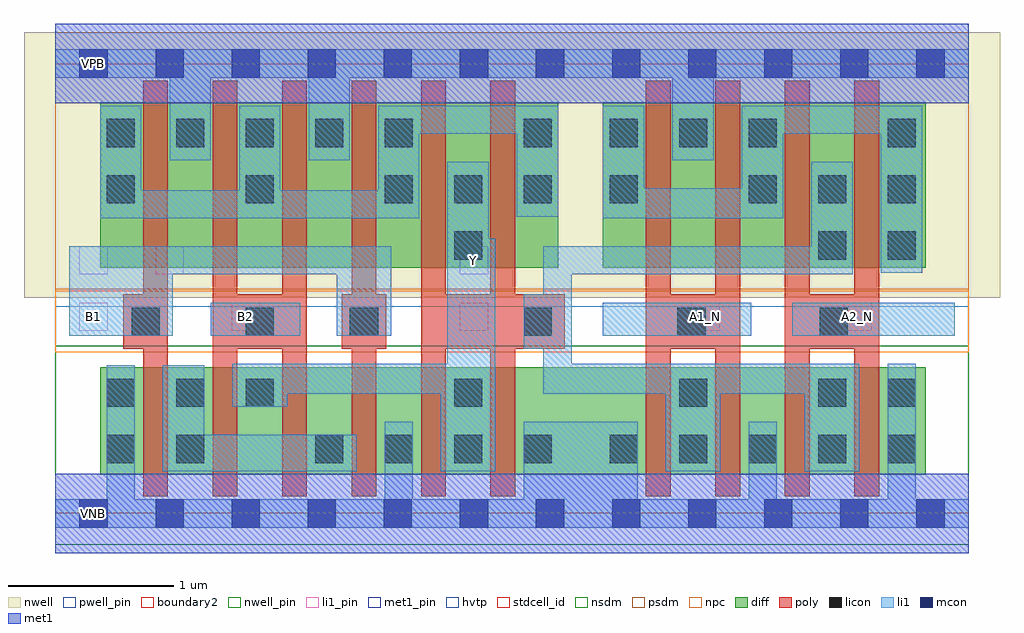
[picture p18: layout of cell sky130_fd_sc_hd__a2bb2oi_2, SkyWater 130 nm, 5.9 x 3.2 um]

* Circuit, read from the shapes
.subckt sky130_fd_sc_hd__a2bb2oi_2 A1_N A2_N B1 B2 VGND VNB VPB VPWR Y
XM1 n1 B1 VGND VNB sky130_fd_pr__nfet_01v8 w=0.65 l=0.15 m=2
XM2 Y B2 n1 VNB sky130_fd_pr__nfet_01v8 w=0.65 l=0.15 m=2
XM3 Y n2 VGND VNB sky130_fd_pr__nfet_01v8 w=0.65 l=0.15 m=2
XM4 n2 A1_N VGND VNB sky130_fd_pr__nfet_01v8 w=0.65 l=0.15 m=2
XM5 n2 A2_N VGND VNB sky130_fd_pr__nfet_01v8 w=0.65 l=0.15 m=2
XM6 VPWR B1 n3 VPB sky130_fd_pr__pfet_01v8_hvt w=1 l=0.15 m=2
XM7 n3 B2 VPWR VPB sky130_fd_pr__pfet_01v8_hvt w=1 l=0.15 m=2
XM8 Y n2 n3 VPB sky130_fd_pr__pfet_01v8_hvt w=1 l=0.15 m=2
XM9 VPWR A1_N n4 VPB sky130_fd_pr__pfet_01v8_hvt w=1 l=0.15 m=2
XM10 n2 A2_N n4 VPB sky130_fd_pr__pfet_01v8_hvt w=1 l=0.15 m=2
.ends

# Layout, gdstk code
import gdstk
lib = gdstk.Library(unit=1e-6, precision=1e-09)
def R(c, l, rs):  # rectangles x0, y0, x1, y1
    for r in rs: c.add(gdstk.rectangle(r[:2], r[2:], *l))
def A(c, l, x, y, w, h, nx, ny, dx, dy):  # array of equal rectangles
    R(c, l, [(x+i*dx, y+j*dy, x+i*dx+w, y+j*dy+h) for i in range(nx) for j in range(ny)])
def P(c, l, *ps):  # polygons
    for p in ps: c.add(gdstk.Polygon(p, *l))
nwell_pin = (64, 16)
nwell = (64, 20)
diff = (65, 20)
poly = (66, 20)
licon = (66, 44)
li1_pin = (67, 16)
li1 = (67, 20)
mcon = (67, 44)
met1_pin = (68, 16)
met1 = (68, 20)
hvtp = (78, 44)
stdcell_id = (81, 4)
nsdm = (93, 44)
psdm = (94, 20)
npc = (95, 20)
pwell_pin = (122, 16)
boundary2 = (236, 0)

sky130_fd_sc_hd__a2bb2oi = lib.new_cell('sky130_fd_sc_hd__a2bb2oi_2')
R(sky130_fd_sc_hd__a2bb2oi, nwell_pin, [(0.145,2.635,0.315,2.805)])
R(sky130_fd_sc_hd__a2bb2oi, nwell, [(-0.19,1.305,5.71,2.91)])
R(sky130_fd_sc_hd__a2bb2oi, diff, [(0.27,0.235,5.26,0.885), (0.27,1.485,3.04,2.485), (3.31,1.485,5.26,2.485)])
P(sky130_fd_sc_hd__a2bb2oi, poly, [(0.95,0.105),(0.95,2.615),(1.1,2.615),(1.1,1.325),(1.37,1.325),(1.37,2.615),(1.52,2.615),(1.52,0.105),(1.37,0.105),(1.37,0.995),(1.1,0.995),(1.1,0.105)],
  [(3.57,0.105),(3.57,2.615),(3.72,2.615),(3.72,1.325),(3.99,1.325),(3.99,2.615),(4.14,2.615),(4.14,0.105),(3.99,0.105),(3.99,0.995),(3.72,0.995),(3.72,0.105)],
  [(0.53,0.105),(0.53,0.995),(0.41,0.995),(0.41,1.325),(0.53,1.325),(0.53,2.615),(0.68,2.615),(0.68,0.105)],
  [(2.21,0.105),(2.21,2.615),(2.36,2.615),(2.36,1.325),(2.63,1.325),(2.63,2.615),(2.78,2.615),(2.78,1.325),(3.08,1.325),(3.08,0.995),(2.78,0.995),(2.78,0.105),(2.63,0.105),(2.63,0.995),(2.36,0.995),(2.36,0.105)],
  [(1.79,0.105),(1.79,0.995),(1.73,0.995),(1.73,1.325),(1.79,1.325),(1.79,2.615),(1.94,2.615),(1.94,1.325),(2,1.325),(2,0.995),(1.94,0.995),(1.94,0.105)],
  [(4.41,0.105),(4.41,2.615),(4.56,2.615),(4.56,1.325),(4.83,1.325),(4.83,2.615),(4.98,2.615),(4.98,0.105),(4.83,0.105),(4.83,0.995),(4.56,0.995),(4.56,0.105)])
A(sky130_fd_sc_hd__a2bb2oi, licon, 1.57, 0.305, 0.17, 0.17, 4, 1, 0.42, 0)
A(sky130_fd_sc_hd__a2bb2oi, licon, 3.35, 0.305, 0.17, 0.17, 5, 1, 0.42, 0)
A(sky130_fd_sc_hd__a2bb2oi, licon, 0.31, 0.645, 0.17, 0.17, 3, 1, 0.42, 0)
A(sky130_fd_sc_hd__a2bb2oi, licon, 0.31, 1.875, 0.17, 0.17, 3, 1, 0.84, 0)
A(sky130_fd_sc_hd__a2bb2oi, licon, 4.19, 1.875, 0.17, 0.17, 3, 1, 0.42, 0)
A(sky130_fd_sc_hd__a2bb2oi, licon, 0.31, 2.215, 0.17, 0.17, 5, 1, 0.42, 0)
A(sky130_fd_sc_hd__a2bb2oi, licon, 3.35, 2.215, 0.17, 0.17, 3, 1, 0.42, 0)
R(sky130_fd_sc_hd__a2bb2oi, licon, [(0.31,0.305,0.48,0.475), (0.73,0.305,0.9,0.475), (2.41,0.645,2.58,0.815), (3.77,0.645,3.94,0.815), (4.61,0.645,4.78,0.815), (5.03,0.645,5.2,0.815), (0.46,1.075,0.63,1.245), (1.15,1.075,1.32,1.245), (1.78,1.075,1.95,1.245), (2.83,1.075,3,1.245), (3.76,1.075,3.93,1.245), (4.62,1.075,4.79,1.245), (2.41,1.535,2.58,1.705), (4.61,1.535,4.78,1.705), (5.03,1.535,5.2,1.705), (2.41,1.875,2.58,2.045), (2.83,1.875,3,2.045), (3.35,1.875,3.52,2.045), (2.83,2.215,3,2.385), (5.03,2.215,5.2,2.385)])
R(sky130_fd_sc_hd__a2bb2oi, li1_pin, [(0.145,1.105,0.315,1.275), (1.065,1.105,1.235,1.275), (2.445,1.105,2.615,1.275), (3.845,1.105,4.015,1.275), (4.765,1.105,4.935,1.275), (0.145,1.445,0.315,1.615), (0.605,1.445,0.775,1.615), (2.445,1.445,2.615,1.615)])
R(sky130_fd_sc_hd__a2bb2oi, li1, [(0.94,1.075,1.48,1.275), (3.31,1.075,4.205,1.275), (4.455,1.075,5.435,1.275)])
P(sky130_fd_sc_hd__a2bb2oi, li1, [(0,-0.085),(0,0.085),(0.31,0.085),(0.31,0.895),(0.48,0.895),(0.48,0.085),(1.99,0.085),(1.99,0.555),(2.16,0.555),(2.16,0.085),(2.83,0.085),(2.83,0.555),(3.52,0.555),(3.52,0.085),(4.19,0.085),(4.19,0.555),(4.36,0.555),(4.36,0.085),(5.03,0.085),(5.03,0.905),(5.2,0.905),(5.2,0.085),(5.52,0.085),(5.52,-0.085)],
  [(0.69,2.135),(0.69,2.635),(0,2.635),(0,2.805),(5.52,2.805),(5.52,2.635),(3.98,2.635),(3.98,2.135),(3.73,2.135),(3.73,2.635),(1.78,2.635),(1.78,2.135),(1.53,2.135),(1.53,2.635),(0.94,2.635),(0.94,2.135)],
  [(4.99,1.455),(4.99,2.295),(4.4,2.295),(4.4,1.785),(3.31,1.785),(3.31,2.465),(3.56,2.465),(3.56,1.965),(4.15,1.965),(4.15,2.465),(5.24,2.465),(5.24,1.455)],
  [(3.69,0.255),(3.69,0.725),(2.95,0.725),(2.95,0.995),(2.83,0.995),(2.83,1.325),(2.95,1.325),(2.95,1.615),(4.57,1.615),(4.57,2.125),(4.82,2.125),(4.82,1.445),(3.12,1.445),(3.12,0.905),(4.86,0.905),(4.86,0.255),(4.53,0.255),(4.53,0.725),(4.02,0.725),(4.02,0.255)],
  [(0.27,1.785),(0.27,2.465),(0.52,2.465),(0.52,1.955),(1.11,1.955),(1.11,2.465),(1.36,2.465),(1.36,1.955),(1.95,1.955),(1.95,2.465),(3.04,2.465),(3.04,1.795),(2.79,1.795),(2.79,2.295),(2.2,2.295),(2.2,1.785)],
  [(2.33,0.255),(2.33,0.725),(1.4,0.725),(1.4,0.645),(1.07,0.645),(1.07,0.905),(2.37,0.905),(2.37,2.125),(2.62,2.125),(2.62,1.66),(2.66,1.66),(2.66,0.255)],
  [(0.085,1.075),(0.085,1.615),(2.03,1.615),(2.03,1.075),(1.7,1.075),(1.7,1.445),(0.71,1.445),(0.71,1.075)],
  [(0.65,0.255),(0.65,0.895),(0.9,0.895),(0.9,0.475),(1.82,0.475),(1.82,0.255)])
A(sky130_fd_sc_hd__a2bb2oi, mcon, 0.145, -0.085, 0.17, 0.17, 12, 2, 0.46, 2.72)
R(sky130_fd_sc_hd__a2bb2oi, met1_pin, [(0.145,-0.085,0.315,0.085), (0.145,2.635,0.315,2.805)])
R(sky130_fd_sc_hd__a2bb2oi, hvtp, [(0,1.25,5.52,2.72)])
R(sky130_fd_sc_hd__a2bb2oi, stdcell_id, [(0,0,5.52,2.72)])
R(sky130_fd_sc_hd__a2bb2oi, nsdm, [(0,-0.19,5.52,1.015)])
R(sky130_fd_sc_hd__a2bb2oi, psdm, [(0,1.355,5.52,2.91)])
R(sky130_fd_sc_hd__a2bb2oi, npc, [(0,0.975,5.52,1.345)])
R(sky130_fd_sc_hd__a2bb2oi, pwell_pin, [(0.145,-0.085,0.315,0.085)])
R(sky130_fd_sc_hd__a2bb2oi, boundary2, [(0,0,5.52,2.72)])
sky130_fd_sc_hd__a2bb2oi.add(gdstk.FlexPath([(0,2.72),(5.52,2.72)], 0.48, ends="flush", simple_path=True, layer=68, datatype=20))  # met1
sky130_fd_sc_hd__a2bb2oi.add(gdstk.FlexPath([(0,0),(5.52,0)], 0.48, ends="flush", simple_path=True, layer=68, datatype=20))  # met1
sky130_fd_sc_hd__a2bb2oi.add(gdstk.Label('A2_N', (4.85,1.19), layer=67, texttype=5))
sky130_fd_sc_hd__a2bb2oi.add(gdstk.Label('A1_N', (3.93,1.19), layer=67, texttype=5))
sky130_fd_sc_hd__a2bb2oi.add(gdstk.Label('Y', (2.53,1.53), layer=67, texttype=5))
sky130_fd_sc_hd__a2bb2oi.add(gdstk.Label('B2', (1.15,1.19), layer=67, texttype=5))
sky130_fd_sc_hd__a2bb2oi.add(gdstk.Label('B1', (0.23,1.19), layer=67, texttype=5))
sky130_fd_sc_hd__a2bb2oi.add(gdstk.Label('VNB', (0.23,0), layer=64, texttype=59))
sky130_fd_sc_hd__a2bb2oi.add(gdstk.Label('VPB', (0.23,2.72), layer=64, texttype=5))
sky130_fd_sc_hd__a2bb2oi.add(gdstk.Label('VGND', (0.23,0), layer=68, texttype=5))
sky130_fd_sc_hd__a2bb2oi.add(gdstk.Label('VPWR', (0.23,2.72), layer=68, texttype=5))
sky130_fd_sc_hd__a2bb2oi.add(gdstk.Label('a2bb2oi_2', (0,0), layer=83, texttype=44))

lib.write_gds('sky130_fd_sc_hd__a2bb2oi_2.gds')
